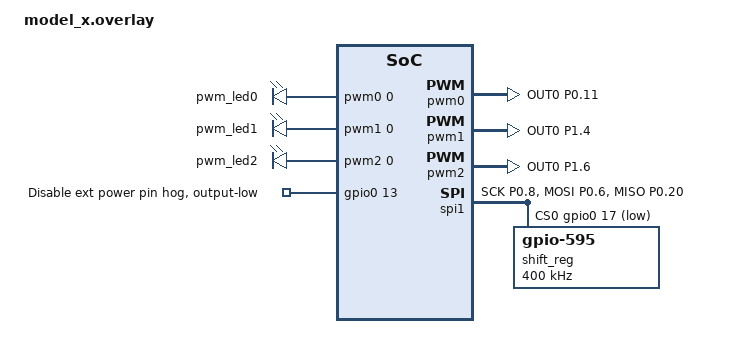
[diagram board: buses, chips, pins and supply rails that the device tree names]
#include <dt-bindings/zmk/matrix_transform.h>
#include <dt-bindings/led/led.h>
#include <physical_layouts.dtsi>
//#include "model_x_ansi101.dts"
//#include "model_x_iso102.dts"
#include "model_x_iso122.dts"


&pinctrl {
    spi1_default: spi1_default {
        group1 {
            psels = <NRF_PSEL(SPIM_SCK, 0, 8)>,
                <NRF_PSEL(SPIM_MOSI, 0, 6)>,
                <NRF_PSEL(SPIM_MISO, 0, 20)>;
        };
    };

    spi1_sleep: spi1_sleep {
        group1 {
            psels = <NRF_PSEL(SPIM_SCK, 0, 8)>,
                <NRF_PSEL(SPIM_MOSI, 0, 6)>,
                <NRF_PSEL(SPIM_MISO, 0, 20)>;
            low-power-enable;
        };
    };
	
	pwm0_default: pwm0_default {
        group1 {
            psels = <NRF_PSEL(PWM_OUT0, 0, 11)>;
        };
    };
	
    pwm0_sleep: pwm0_sleep {
        group1 {
            psels = <NRF_PSEL(PWM_OUT0, 0, 11)>;
            low-power-enable;
        };
    };

	pwm1_default: pwm1_default {
        group1 {
            psels = <NRF_PSEL(PWM_OUT0, 1, 4)>;
        };
    };
	
    pwm1_sleep: pwm1_sleep {
        group1 {
            psels = <NRF_PSEL(PWM_OUT0, 1, 4)>;
            low-power-enable;
        };
    };
	
	pwm2_default: pwm2_default {
        group1 {
            psels = <NRF_PSEL(PWM_OUT0, 1, 6)>;
        };
    };
	
    pwm2_sleep: pwm2_sleep {
        group1 {
            psels = <NRF_PSEL(PWM_OUT0, 1, 6)>;
            low-power-enable;
        };
    };

};

&pwm0 {
    status = "okay";
    pinctrl-0 = <&pwm0_default>;
    pinctrl-1 = <&pwm0_sleep>;
    pinctrl-names = "default", "sleep";
};

&pwm1 {
    status = "okay";
    pinctrl-0 = <&pwm1_default>;
    pinctrl-1 = <&pwm1_sleep>;
    pinctrl-names = "default", "sleep";
};

&pwm2 {
    status = "okay";
    pinctrl-0 = <&pwm2_default>;
    pinctrl-1 = <&pwm2_sleep>;
    pinctrl-names = "default", "sleep";
};

&gpio0 {
    extpwr_pull: extpwr_pull {
        gpio-hog;
        gpios = <13 GPIO_ACTIVE_HIGH>;  // might need to swap this or the next, not sure
        output-low;
        line-name = "Disable ext power pin";
    };
};

&spi1 {
    // Enable the SPI interface and configure the CS (Chip Select) pin
    status = "okay";
    pinctrl-0 = <&spi1_default>; // Default pin configuration
    pinctrl-1 = <&spi1_sleep>;   // Low power pin configuration
    pinctrl-names = "default", "sleep"; // Names of the pin configurations
    //wakeup-source; 
    cs-gpios = <&gpio0 17 GPIO_ACTIVE_LOW>; // Pin 0.17 for CS (Chip Select), active low

    shift_reg: 595@0 {
        // Configure the 74HC595 shift register
        compatible = "zmk,gpio-595"; // Specify the compatible device
        status = "okay";
        //wakeup-source; 
        gpio-controller;
        spi-max-frequency = <400000>; // Maximum SPI frequency (4 MHz)
        #gpio-cells = <2>;
        reg = <0>; // SPI device address
        #gpio-cells = <2>;
        ngpios = <16>;
    };

};

/ {
    //chosen {
    //    zmk,physical-layout = &iso102_ph_layout;
    //};
    
    aliases {
		pwm-led-numlock = &pwm_led0;
        pwm-led-capslock = &pwm_led1;
        pwm-led-scrolllock = &pwm_led2;
    };

	pwmleds {
		compatible = "pwm-leds";
		pwm_led0: pwm_led_0 {
			pwms = <&pwm0 0 10000 PWM_POLARITY_INVERTED>;
		};

		pwm_led1: pwm_led_1 {
			pwms = <&pwm1 0 10000 PWM_POLARITY_INVERTED>;
		};

		pwm_led2: pwm_led_2 {
			pwms = <&pwm2 0 10000 PWM_POLARITY_INVERTED>;
		};
	};

};
